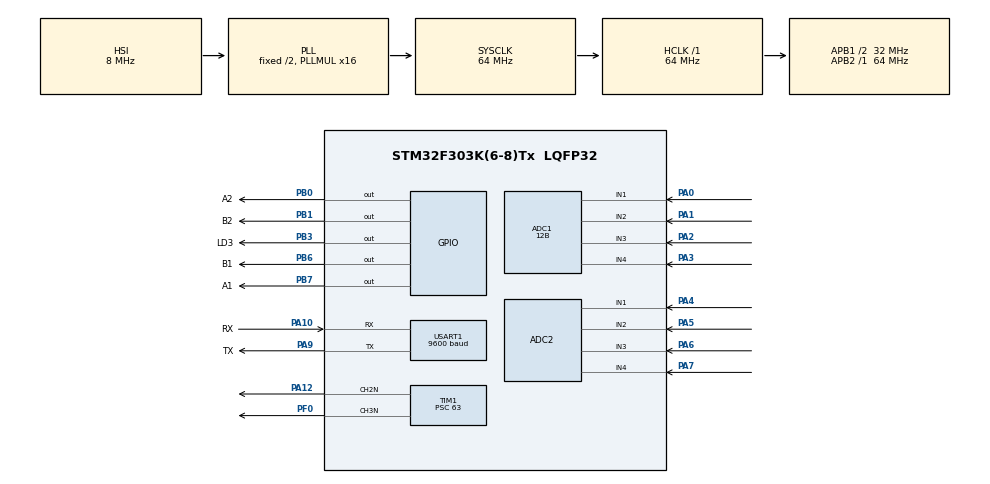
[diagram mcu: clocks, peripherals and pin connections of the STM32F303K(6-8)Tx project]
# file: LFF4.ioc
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ADC1.Channel-0\#ChannelRegularConversion=ADC_CHANNEL_1
ADC1.Channel-1\#ChannelRegularConversion=ADC_CHANNEL_2
ADC1.Channel-2\#ChannelRegularConversion=ADC_CHANNEL_3
ADC1.Channel-3\#ChannelRegularConversion=ADC_CHANNEL_4
ADC1.ClockPrescaler=ADC_CLOCK_ASYNC_DIV1
ADC1.ContinuousConvMode=ENABLE
ADC1.DMAContinuousRequests=ENABLE
ADC1.DataAlign=ADC_DATAALIGN_RIGHT
ADC1.DiscontinuousConvMode=DISABLE
ADC1.EOCSelection=ADC_EOC_SINGLE_CONV
ADC1.EnableAnalogWatchDog1=false
ADC1.EnableAnalogWatchDog2=false
ADC1.EnableAnalogWatchDog3=false
ADC1.EnableInjectedConversion=DISABLE
ADC1.EnableRegularConversion=ENABLE
ADC1.ExternalTrigConv=ADC_SOFTWARE_START
ADC1.ExternalTrigConvEdge=ADC_EXTERNALTRIGCONVEDGE_NONE
ADC1.LowPowerAutoWait=DISABLE
ADC1.NbrOfConversion=4
ADC1.NbrOfConversionFlag=1
ADC1.Offset-0\#ChannelRegularConversion=0
ADC1.Offset-1\#ChannelRegularConversion=0
ADC1.Offset-2\#ChannelRegularConversion=0
ADC1.Offset-3\#ChannelRegularConversion=0
ADC1.OffsetNumber-0\#ChannelRegularConversion=ADC_OFFSET_NONE
ADC1.OffsetNumber-1\#ChannelRegularConversion=ADC_OFFSET_NONE
ADC1.OffsetNumber-2\#ChannelRegularConversion=ADC_OFFSET_NONE
ADC1.OffsetNumber-3\#ChannelRegularConversion=ADC_OFFSET_NONE
ADC1.Overrun=ADC_OVR_DATA_OVERWRITTEN
ADC1.Rank-0\#ChannelRegularConversion=1
ADC1.Rank-1\#ChannelRegularConversion=2
ADC1.Rank-2\#ChannelRegularConversion=3
ADC1.Rank-3\#ChannelRegularConversion=4
ADC1.Resolution=ADC_RESOLUTION_12B
ADC1.SamplingTime-0\#ChannelRegularConversion=ADC_SAMPLETIME_181CYCLES_5
ADC1.SamplingTime-1\#ChannelRegularConversion=ADC_SAMPLETIME_181CYCLES_5
ADC1.SamplingTime-2\#ChannelRegularConversion=ADC_SAMPLETIME_181CYCLES_5
ADC1.SamplingTime-3\#ChannelRegularConversion=ADC_SAMPLETIME_181CYCLES_5
ADC1.ScanConvMode=ADC_SCAN_ENABLE
ADC1.SubFamily=STM32F303x8
ADC1.master=1
ADC2.Channel-0\#ChannelRegularConversion=ADC_CHANNEL_1
ADC2.Channel-1\#ChannelRegularConversion=ADC_CHANNEL_2
ADC2.Channel-2\#ChannelRegularConversion=ADC_CHANNEL_3
ADC2.Channel-3\#ChannelRegularConversion=ADC_CHANNEL_4
ADC2.DMAContinuousRequests=ENABLE
ADC2.EnableInjectedConversion=DISABLE
ADC2.NbrOfConversion=4
ADC2.NbrOfConversionFlag=1
ADC2.Offset-0\#ChannelRegularConversion=0
ADC2.Offset-1\#ChannelRegularConversion=0
ADC2.Offset-2\#ChannelRegularConversion=0
ADC2.Offset-3\#ChannelRegularConversion=0
ADC2.OffsetNumber-0\#ChannelRegularConversion=ADC_OFFSET_NONE
ADC2.OffsetNumber-1\#ChannelRegularConversion=ADC_OFFSET_NONE
ADC2.OffsetNumber-2\#ChannelRegularConversion=ADC_OFFSET_NONE
ADC2.OffsetNumber-3\#ChannelRegularConversion=ADC_OFFSET_NONE
ADC2.Rank-0\#ChannelRegularConversion=1
ADC2.Rank-1\#ChannelRegularConversion=2
ADC2.Rank-2\#ChannelRegularConversion=3
ADC2.Rank-3\#ChannelRegularConversion=4
ADC2.SamplingTime-0\#ChannelRegularConversion=ADC_SAMPLETIME_181CYCLES_5
ADC2.SamplingTime-1\#ChannelRegularConversion=ADC_SAMPLETIME_181CYCLES_5
ADC2.SamplingTime-2\#ChannelRegularConversion=ADC_SAMPLETIME_181CYCLES_5
ADC2.SamplingTime-3\#ChannelRegularConversion=ADC_SAMPLETIME_181CYCLES_5
ADC2.SubFamily=STM32F303x8
Dma.ADC1.1.Direction=DMA_PERIPH_TO_MEMORY
Dma.ADC1.1.Instance=DMA1_Channel1
Dma.ADC1.1.MemDataAlignment=DMA_MDATAALIGN_HALFWORD
Dma.ADC1.1.MemInc=DMA_MINC_ENABLE
Dma.ADC1.1.Mode=DMA_CIRCULAR
Dma.ADC1.1.PeriphDataAlignment=DMA_PDATAALIGN_HALFWORD
Dma.ADC1.1.PeriphInc=DMA_PINC_DISABLE
Dma.ADC1.1.Priority=DMA_PRIORITY_HIGH
Dma.ADC2.0.Direction=DMA_PERIPH_TO_MEMORY
Dma.ADC2.0.Instance=DMA1_Channel2
Dma.ADC2.0.MemDataAlignment=DMA_MDATAALIGN_HALFWORD
Dma.ADC2.0.MemInc=DMA_MINC_ENABLE
Dma.ADC2.0.Mode=DMA_CIRCULAR
Dma.ADC2.0.PeriphDataAlignment=DMA_PDATAALIGN_HALFWORD
Dma.ADC2.0.PeriphInc=DMA_PINC_DISABLE
Dma.ADC2.0.Priority=DMA_PRIORITY_MEDIUM
Dma.Request0=ADC2
Dma.Request1=ADC1
Mcu.Family=STM32F3
Mcu.Name=STM32F303K(6-8)Tx
Mcu.Package=LQFP32
NVIC.DMA1_Channel1_IRQn=true\:2\:0\:true\:false\:true
NVIC.DMA1_Channel2_IRQn=true\:3\:0\:true\:false\:true
NVIC.PriorityGroup=NVIC_PRIORITYGROUP_4
NVIC.USART1_IRQn=true\:5\:0\:true\:false\:true
PA0.Mode=IN1-Single-Ended
PA0.Signal=ADC1_IN1
PA1.Mode=IN2-Single-Ended
PA1.Signal=ADC1_IN2
PA10.GPIO_Label=RX
PA10.Mode=Asynchronous
PA10.Signal=USART1_RX
PA12.Mode=PWM Generation2 CH2N
PA12.Signal=TIM1_CH2N
PA13.GPIO_Label=SWDIO
PA13.Mode=Serial_Wire
PA13.Signal=SYS_JTMS-SWDIO
PA14.GPIO_Label=SWCLK
PA14.Mode=Serial_Wire
PA14.Signal=SYS_JTCK-SWCLK
PA15.GPIO_Label=VCP_RX
PA15.Signal=USART2_RX
PA2.Mode=IN3-Single-Ended
PA2.Signal=ADC1_IN3
PA3.Mode=IN4-Single-Ended
PA3.Signal=ADC1_IN4
PA4.Mode=IN1-Single-Ended
PA4.Signal=ADC2_IN1
PA5.Mode=IN2-Single-Ended
PA5.Signal=ADC2_IN2
PA6.Mode=IN3-Single-Ended
PA6.Signal=ADC2_IN3
PA7.Mode=IN4-Single-Ended
PA7.Signal=ADC2_IN4
PA9.GPIO_Label=TX
PA9.Mode=Asynchronous
PA9.Signal=USART1_TX
PB0.GPIO_Label=A2
PB0.Signal=GPIO_Output
PB1.GPIO_Label=B2
PB1.Signal=GPIO_Output
PB3.GPIO_Label=LD3
PB3.Signal=GPIO_Output
PB6.GPIO_Label=B1
PB6.PinState=GPIO_PIN_RESET
PB6.Signal=GPIO_Output
PB7.GPIO_Label=A1
PB7.PinState=GPIO_PIN_RESET
PB7.Signal=GPIO_Output
PF0\ /\ OSC_IN.Mode=PWM Generation3 CH3N
PF0\ /\ OSC_IN.Signal=TIM1_CH3N
ProjectManager.HeapSize=0x200
ProjectManager.StackSize=0x400
ProjectManager.TargetToolchain=TrueSTUDIO
RCC.AHBFreq_Value=64000000
RCC.APB1CLKDivider=RCC_HCLK_DIV2
RCC.APB1Freq_Value=32000000
RCC.APB1TimFreq_Value=64000000
RCC.APB2Freq_Value=64000000
RCC.APB2TimFreq_Value=64000000
RCC.CortexFreq_Value=64000000
RCC.HCLKFreq_Value=64000000
RCC.HSE_VALUE=8000000
RCC.HSI_VALUE=8000000
RCC.PLLMUL=RCC_PLL_MUL16
RCC.SYSCLKFreq_VALUE=64000000
RCC.SYSCLKSourceVirtual=RCC_SYSCLKSOURCE_PLLCLK
TIM1.AutoReloadPreload=TIM_AUTORELOAD_PRELOAD_ENABLE
TIM1.Channel-PWM\ Generation2\ CH2N=TIM_CHANNEL_2
TIM1.Channel-PWM\ Generation3\ CH3N=TIM_CHANNEL_3
TIM1.Period=999
TIM1.Prescaler=63
USART1.BaudRate=9600
USART1.WordLength=UART_WORDLENGTH_8B
board=NUCLEO-F303K8

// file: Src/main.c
/**
  ******************************************************************************
  * File Name          : main.c
  * Description        : Main program body
  ******************************************************************************
  *
  * COPYRIGHT(c) 2017 STMicroelectronics
  *
  * Redistribution and use in source and binary forms, with or without modification,
  * are permitted provided that the following conditions are met:
  *   1. Redistributions of source code must retain the above copyright notice,
  *      this list of conditions and the following disclaimer.
  *   2. Redistributions in binary form must reproduce the above copyright notice,
  *      this list of conditions and the following disclaimer in the documentation
  *      and/or other materials provided with the distribution.
  *   3. Neither the name of STMicroelectronics nor the names of its contributors
  *      may be used to endorse or promote products derived from this software
  *      without specific prior written permission.
  *
  * THIS SOFTWARE IS PROVIDED BY THE COPYRIGHT HOLDERS AND CONTRIBUTORS "AS IS"
  * AND ANY EXPRESS OR IMPLIED WARRANTIES, INCLUDING, BUT NOT LIMITED TO, THE
  * IMPLIED WARRANTIES OF MERCHANTABILITY AND FITNESS FOR A PARTICULAR PURPOSE ARE
  * DISCLAIMED. IN NO EVENT SHALL THE COPYRIGHT HOLDER OR CONTRIBUTORS BE LIABLE
  * FOR ANY DIRECT, INDIRECT, INCIDENTAL, SPECIAL, EXEMPLARY, OR CONSEQUENTIAL
  * DAMAGES (INCLUDING, BUT NOT LIMITED TO, PROCUREMENT OF SUBSTITUTE GOODS OR
  * SERVICES; LOSS OF USE, DATA, OR PROFITS; OR BUSINESS INTERRUPTION) HOWEVER
  * CAUSED AND ON ANY THEORY OF LIABILITY, WHETHER IN CONTRACT, STRICT LIABILITY,
  * OR TORT (INCLUDING NEGLIGENCE OR OTHERWISE) ARISING IN ANY WAY OUT OF THE USE
  * OF THIS SOFTWARE, EVEN IF ADVISED OF THE POSSIBILITY OF SUCH DAMAGE.
  *
  ******************************************************************************
  */
#include "main.h"
#include "stm32f3xx_hal.h"
#include "adc.h"
#include "dma.h"
#include "tim.h"
#include "usart.h"
#include "gpio.h"

/* USER CODE BEGIN PV */
/* Private variables ---------------------------------------------------------*/
uint16_t czujniki1[4], czujniki2[4];
int treshold=800;
int Kp=60;
int Kd=1500;
int W[10]={-200,-80,-40,-10,-1,1,10,40,80,200};
float P=0, D=0,error=0, previous_error=0, uchyb=0, poprzedni_uchyb=0, PD_value=0, motor_l=0, motor_p=0;
int e=0;
int i=0;
int k=0;
int motor_initial=600;
int predkosc=500;
int dyf=1;
int rdyf=20;
uint8_t Received;
uint8_t data[50];// Tablica przechowujaca wysylana wiadomosc.
uint16_t size = 0; // Rozmiar wysylanej wiadomosci ++cnt; // Zwiekszenie licznika wyslanych wiadomosci.
/* USER CODE END PV */

void SystemClock_Config(void);
void Error_Handler(void);

/* USER CODE BEGIN PFP */
/* Private function prototypes -----------------------------------------------*/

/* USER CODE END PFP */

int main(void)
{

  /* MCU Configuration----------------------------------------------------------*/

  /* Reset of all peripherals, Initializes the Flash interface and the Systick. */
  HAL_Init();

  /* Configure the system clock */
  SystemClock_Config();

  /* Initialize all configured peripherals */
  MX_GPIO_Init();
  MX_DMA_Init();
  MX_ADC1_Init();
  MX_ADC2_Init();
  MX_TIM1_Init();
  MX_USART1_UART_Init();

  /* USER CODE BEGIN 2 */
  HAL_ADC_Start_DMA(&hadc1, (uint32_t *) czujniki1, 4);
  HAL_ADC_Start_DMA(&hadc2, (uint32_t *) czujniki2, 4);
//
  HAL_GPIO_WritePin(A1_GPIO_Port, A1_Pin, GPIO_PIN_SET);
  HAL_GPIO_WritePin(B1_GPIO_Port, B1_Pin, GPIO_PIN_SET);

  HAL_TIMEx_PWMN_Start(&htim1, TIM_CHANNEL_2);
  HAL_TIMEx_PWMN_Start(&htim1, TIM_CHANNEL_3);

  /* USER CODE END 2 */

  /* Infinite loop */
  while (1)
  {

  /* USER CODE BEGIN 3 */

	  HAL_UART_Receive_IT(&huart1, &Received, 1);
	  switch(atoi(&Received)){
	  	  case 0:
	  		  k=0;
		  break;
	  	  case 1:
	  		  k=1;
	  		  break;

	  	  case 2:

	  		  predkosc=predkosc+10;
	  		  motor_initial=motor_initial+10;
	  		  size = sprintf(data, "%d. \n\r",predkosc);
	  		  HAL_UART_Transmit_IT(&huart1, data, size);
	  		  if(k==0)
	  		  {
	  			  Received='0';
	  		  }
	  		  if(k==1)
	  		  {
	  			  Received='1';
	  		  }

		  break;

	  	  case 3:
	  		  predkosc=predkosc-10;
	  		  motor_initial=motor_initial-10;
	  		  size = sprintf(data, "%d. \n\r",predkosc);
	  		  HAL_UART_Transmit_IT(&huart1, data, size);
	  		  if(k==0)
				  {
					  Received='0';
				  }
				  if(k==1)
				  {
				  	  Received='1';
				  }
		  break;

	  	  case 4:
	  		  Kp=Kp+1;
	  		  size = sprintf(data, "%d. \n\r",Kp);
	  		  HAL_UART_Transmit_IT(&huart1, data, size);
	  		  if(k==0)
	  			  {
	  				  Received='0';
	  			  }
	  			  if(k==1)
	  			  {
	  			  	  Received='1';
	  			  }
	  	  break;

	  	  case 5:
	  		  Kp=Kp-1;
	  		  size = sprintf(data, "%d. \n\r",Kp);
	  		  HAL_UART_Transmit_IT(&huart1, data, size);
	  		  if(k==0)
	 			  {
	 				  Received='0';
	 			  }
	 			  if(k==1)
	 			  {
	 			  	  Received='1';
	 			  }
	 	 break;

	  	 case 6:
	  		  Kd=Kd+50;
	  		  size = sprintf(data, "%d. \n\r",Kd);
	  		  HAL_UART_Transmit_IT(&huart1, data, size);
	  		  if(k==0)
				  {
					  Received='0';
				  }
				  if(k==1)
				  {
				  	  Received='1';
				  }
		 break;

	  	 case 7:
	  		 Kd=Kd-50;
	  		 size = sprintf(data, "%d. \n\r",Kd);
	  		 HAL_UART_Transmit_IT(&huart1, data, size);
	  		 if(k==0)
				  {
					  Received='0';
				  }
				  if(k==1)
				  {
				  	  Received='1';
				  }
		 break;
	  }

	  if(k==0)
	  {
		  TIM1->CCR2 = 0;
		  TIM1->CCR3 = 0;
	  }

	  if(k==1)
	  {
		  i=0;
	      error=0;
	      if(czujniki1[2]>treshold)
	  	  {
	    	  error+=W[1];
	  		  i++;
	  		  e=W[0];
	  	  }

	  	  if(czujniki2[3]>treshold)
	  	  {
	  		  error+=W[2];
	  		  i++;
	  	  }

	  	  if(czujniki2[2]>treshold)
	  	  {
	  		  error+=W[3];
	  		  i++;
	  	  }

	  	  if(czujniki2[1]>treshold)
	  	  {
	  		  error+=W[4];
	  		  i++;
	  	  }

	  	  if(czujniki2[0]>treshold)
	  	  {
	  		  error+=W[5];
	  		  i++;
	  	  }

	  	  if(czujniki1[3]>treshold)
	  	  {
	  		  error+=W[6];
	  		  i++;
	  	  }

	  	  if(czujniki1[1]>treshold)
	  	  {
	  		  error+=W[7];
	  		  i++;
	  	  }

	  	  if(czujniki1[0]>treshold)
	  	  {
	  		  error+=W[8];
	  		  i++;
	  		  e=W[9];
	  	  }

	  	  if(i!=0) error=error/i;
	  	  else
	  	  {
	  		  error=e;
	  	  }

	  	  uchyb=error;
	  	  previous_error=error;
	  	  P = uchyb;
	  	  D = uchyb - poprzedni_uchyb;
	  	  PD_value = (Kp*P) + (Kd*D);
	  	  poprzedni_uchyb=uchyb;
	  	  motor_l = motor_initial-PD_value;
	  	  motor_p = motor_initial+PD_value;

	  	  if (motor_l>predkosc) motor_l=predkosc;
	  	  if (motor_l>(dyf*motor_initial+rdyf)) motor_l=dyf*motor_initial+rdyf;
	  	  if (motor_l<0) motor_l=0;
	  	  if (motor_p>predkosc) motor_p=predkosc;
	  	  if (motor_p>(dyf*motor_initial+rdyf)) motor_p=dyf*motor_initial+rdyf;
	  	  if (motor_p<0) motor_p=0;

	  	  HAL_GPIO_TogglePin(LD3_GPIO_Port, LD3_Pin);

	 }

	  HAL_Delay(10);
}
  /* USER CODE END 3 */
}

/** System Clock Configuration
*/
void SystemClock_Config(void)
{

  RCC_OscInitTypeDef RCC_OscInitStruct;
  RCC_ClkInitTypeDef RCC_ClkInitStruct;
  RCC_PeriphCLKInitTypeDef PeriphClkInit;

    /**Initializes the CPU, AHB and APB busses clocks
    */
  RCC_OscInitStruct.OscillatorType = RCC_OSCILLATORTYPE_HSI;
  RCC_OscInitStruct.HSIState = RCC_HSI_ON;
  RCC_OscInitStruct.HSICalibrationValue = 16;
  RCC_OscInitStruct.PLL.PLLState = RCC_PLL_ON;
  RCC_OscInitStruct.PLL.PLLSource = RCC_PLLSOURCE_HSI;
  RCC_OscInitStruct.PLL.PLLMUL = RCC_PLL_MUL16;
  if (HAL_RCC_OscConfig(&RCC_OscInitStruct) != HAL_OK)
  {
    Error_Handler();
  }

    /**Initializes the CPU, AHB and APB busses clocks
    */
  RCC_ClkInitStruct.ClockType = RCC_CLOCKTYPE_HCLK|RCC_CLOCKTYPE_SYSCLK
                              |RCC_CLOCKTYPE_PCLK1|RCC_CLOCKTYPE_PCLK2;
  RCC_ClkInitStruct.SYSCLKSource = RCC_SYSCLKSOURCE_PLLCLK;
  RCC_ClkInitStruct.AHBCLKDivider = RCC_SYSCLK_DIV1;
  RCC_ClkInitStruct.APB1CLKDivider = RCC_HCLK_DIV2;
  RCC_ClkInitStruct.APB2CLKDivider = RCC_HCLK_DIV1;

  if (HAL_RCC_ClockConfig(&RCC_ClkInitStruct, FLASH_LATENCY_2) != HAL_OK)
  {
    Error_Handler();
  }

  PeriphClkInit.PeriphClockSelection = RCC_PERIPHCLK_USART1|RCC_PERIPHCLK_TIM1
                              |RCC_PERIPHCLK_ADC12;
  PeriphClkInit.Usart1ClockSelection = RCC_USART1CLKSOURCE_PCLK1;
  PeriphClkInit.Adc12ClockSelection = RCC_ADC12PLLCLK_DIV1;
  PeriphClkInit.Tim1ClockSelection = RCC_TIM1CLK_HCLK;
  if (HAL_RCCEx_PeriphCLKConfig(&PeriphClkInit) != HAL_OK)
  {
    Error_Handler();
  }

    /**Configure the Systick interrupt time
    */
  HAL_SYSTICK_Config(HAL_RCC_GetHCLKFreq()/1000);

    /**Configure the Systick
    */
  HAL_SYSTICK_CLKSourceConfig(SYSTICK_CLKSOURCE_HCLK);

  /* SysTick_IRQn interrupt configuration */
  HAL_NVIC_SetPriority(SysTick_IRQn, 0, 0);
}

void Error_Handler(void)
{
  while(1)
  {
  }
}

/************************ (C) COPYRIGHT STMicroelectronics *****END OF FILE****/
